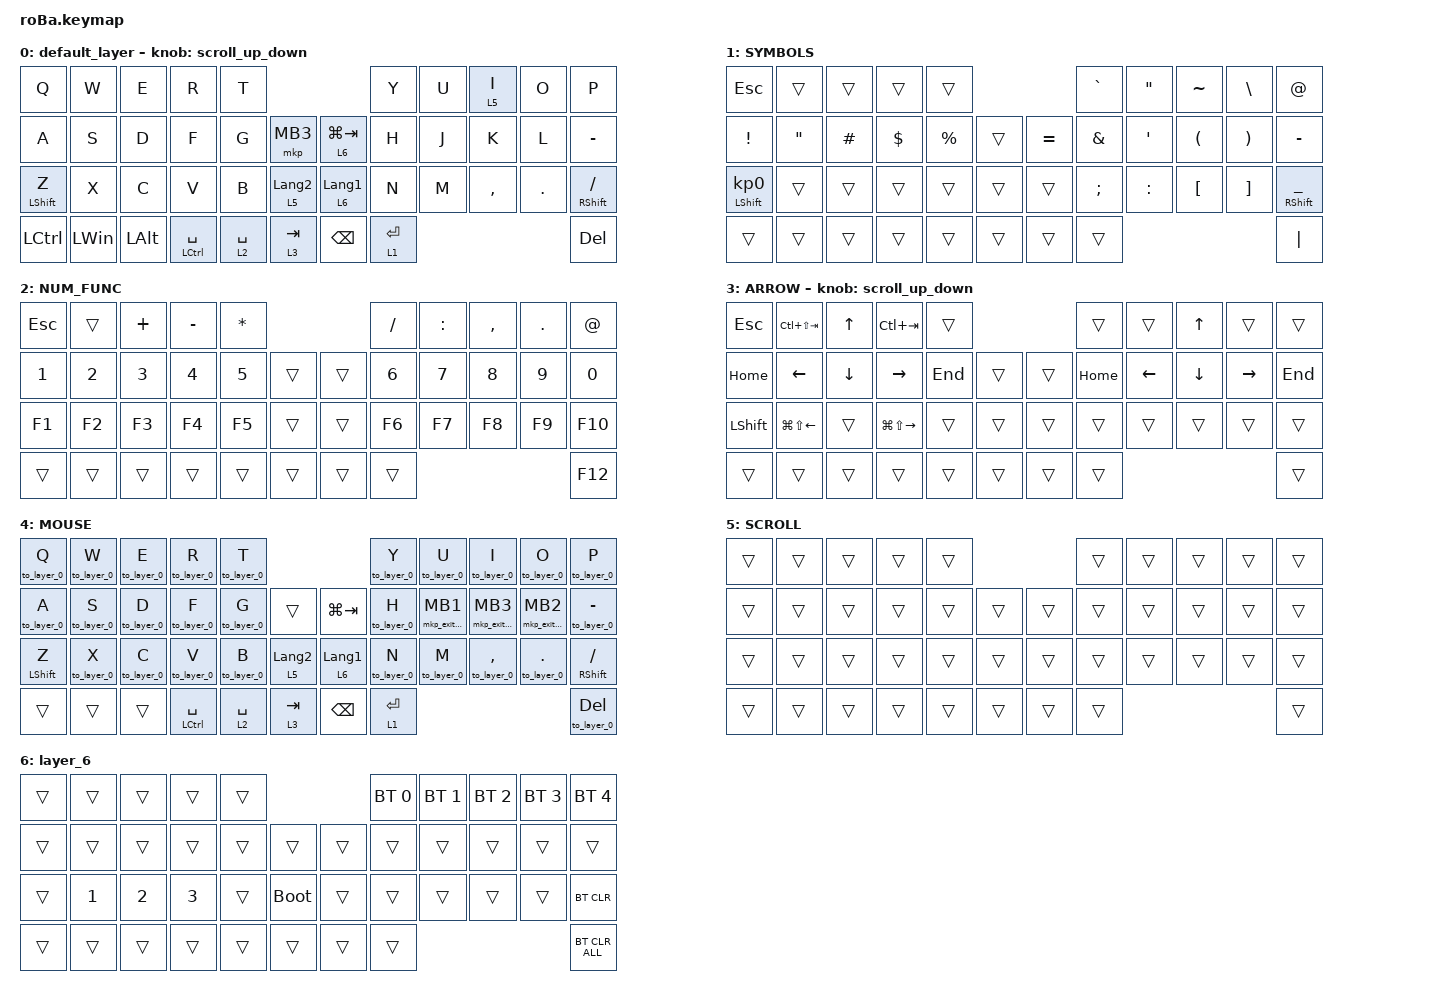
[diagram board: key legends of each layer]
#include <behaviors.dtsi>
#include <dt-bindings/zmk/bt.h>
#include <dt-bindings/zmk/keys.h>
#include <dt-bindings/zmk/pointing.h>
#include <input/processors.dtsi>

#define ZMK_POINTING_DEFAULT_MOVE_VAL 1200  // default: 600
#define ZMK_POINTING_DEFAULT_SCRL_VAL 80    // default: 10
#define MOUSE 4
#define SCROLL 5

// OS設定を日本語キーボードのまま使用するための変換定義

#define JP_DQUOTE       AT                // "
#define JP_AMPERSAND    CARET             // &
#define JP_QUOTE        AMPERSAND         // '
#define JP_EQUAL        UNDER             // =
#define JP_CARET        EQUAL             // ^
#define JP_YEN          0x89              // ¥
#define JP_PLUS         COLON             // +
#define JP_TILDE        PLUS              // ~
#define JP_PIPE         LS(0x89)          // |
#define JP_AT           LEFT_BRACKET      // @
#define JP_COLON        SINGLE_QUOTE      // :
#define JP_ASTERISK     DOUBLE_QUOTES     // *
#define JP_BACKQUOTE    LEFT_BRACE        // `
#define JP_UNDERSCORE   LS(0x87)          // _
#define JP_LBRACKET     RIGHT_BRACKET     // [
#define JP_RBRACKET     BACKSLASH         // ]
#define JP_LPAREN       ASTERISK          // (
#define JP_RPAREN       LEFT_PARENTHESIS  // )
#define JP_LBRACE       RIGHT_BRACE       // {
#define JP_RBRACE       PIPE              // }
#define JP_KANA         LANGUAGE_1        // かな
#define JP_EISU         LANGUAGE_2        // 英数
#define JP_HANZEN       GRAVE             // 半角/全角

&mt {
    flavor = "balanced";
    quick-tap-ms = <0>;
};

&sl { release-after-ms = <250>; };

&mkp_input_listener {
    input-processors = <&zip_temp_layer 4 600>;
};

/ {
    combos {
        compatible = "zmk,combos";

        //        tab {
        //            bindings = <&kp TAB>;
        //            key-positions = <11 12>;
        //        };
        //        shift_tab {
        //            bindings = <&kp LS(TAB)>;
        //            key-positions = <12 13>;
        //        };
        //        muhennkann {
        //            bindings = <&to_layer_0 INT_MUHENKAN>;
        //            key-positions = <11 10>;
        //        };

        double_quotation {
            bindings = <&kp DOUBLE_QUOTES>;
            key-positions = <20 21>;
        };

        eq {
            bindings = <&kp EQUAL>;
            key-positions = <24 25>;
        };
    };

    macros {
        to_layer_0: to_layer_0 {
            compatible = "zmk,behavior-macro-one-param";
            #binding-cells = <1>;
            bindings = <&to 0 &macro_param_1to1 &kp MACRO_PLACEHOLDER>;
            label = "TO_LAYER_0";
        };

        // マウスクリックしたらデフォルトレイヤーに戻る

        mkp_exit_AML: mkp_exit_AML {
            compatible = "zmk,behavior-macro-one-param";
            #binding-cells = <1>;
            bindings =
                <&macro_press>,
                <&macro_param_1to1 &mkp MACRO_PLACEHOLDER>,
                <&macro_pause_for_release>,
                <&macro_release>,
                <&macro_param_1to1 &mkp MACRO_PLACEHOLDER>,
                <&macro_tap>,
                <&sl 4>;

            label = "MKP_EXIT_AML";
        };
    };

    behaviors {
        lt_to_layer_0: lt_to_layer_0 {
            compatible = "zmk,behavior-hold-tap";
            label = "LAYER_TAP_TO_0";
            bindings = <&mo>, <&to_layer_0>;

            #binding-cells = <2>;
            tapping-term-ms = <150>; // defultは200
        };

        // 新しいスクロール動作の追加

        scroll_up_down: behavior_sensor_rotate_mouse_wheel_up_down {
            compatible = "zmk,behavior-sensor-rotate";
            #sensor-binding-cells = <0>;
            bindings = <&msc SCRL_DOWN>, <&msc SCRL_UP>;

            // 追加: スクロールのタップ時間を設定 (20ms)

            tap-ms = <20>;
        };

        // 設定したいレイヤー

        sensor-bindings = <&scroll_up_down>;
    };

    keymap {
        compatible = "zmk,keymap";

        default_layer {
            bindings = <
&kp Q             &kp W         &kp E         &kp R            &kp T                                                &kp Y        &kp U  &lt 5 I    &kp O    &kp P
&kp A             &kp S         &kp D         &kp F            &kp G        &mkp MB3              &lt 6 LG(TAB)     &kp H        &kp J  &kp K      &kp L    &kp MINUS
&mt LEFT_SHIFT Z  &kp X         &kp C         &kp V            &kp B        &lt 5 LANGUAGE_2      &lt 6 LANGUAGE_1  &kp N        &kp M  &kp COMMA  &kp DOT  &mt RIGHT_SHIFT SLASH
&kp LCTRL         &kp LEFT_WIN  &kp LEFT_ALT  &mt LCTRL SPACE  &lt 2 SPACE  &lt 3 TAB             &kp BACKSPACE     &lt 1 ENTER                             &kp DEL
            >;

            sensor-bindings = <&scroll_up_down>;
        };

        SYMBOLS {
            bindings = <
&kp ESCAPE                  &trans             &trans    &trans      &trans                              &kp GRAVE      &kp DOUBLE_QUOTES  &kp TILDE             &kp BACKSLASH          &kp AT_SIGN
&kp EXCLAMATION             &kp DOUBLE_QUOTES  &kp HASH  &kp DOLLAR  &kp PERCENT  &trans      &kp EQUAL  &kp AMPERSAND  &kp SINGLE_QUOTE   &kp LEFT_PARENTHESIS  &kp RIGHT_PARENTHESIS  &kp MINUS
&mt LEFT_SHIFT KP_NUMBER_0  &trans             &trans    &trans      &trans       &trans      &trans     &kp SEMICOLON  &kp COLON          &kp LEFT_BRACKET      &kp RIGHT_BRACKET      &mt RIGHT_SHIFT UNDERSCORE
&trans                      &trans             &trans    &trans      &trans       &trans      &trans     &trans                                                                         &kp PIPE
            >;
        };

        NUM_FUNC {
            bindings = <
&kp ESCAPE    &trans        &kp PLUS      &kp MINUS     &kp ASTRK                         &kp SLASH     &kp COLON     &kp COMMA     &kp PERIOD    &kp AT
&kp NUMBER_1  &kp NUMBER_2  &kp NUMBER_3  &kp NUMBER_4  &kp NUMBER_5  &trans      &trans  &kp NUMBER_6  &kp NUMBER_7  &kp NUMBER_8  &kp NUMBER_9  &kp NUMBER_0
&kp F1        &kp F2        &kp F3        &kp F4        &kp F5        &trans      &trans  &kp F6        &kp F7        &kp F8        &kp F9        &kp F10
&trans        &trans        &trans        &trans        &trans        &trans      &trans  &trans                                                  &kp F12
            >;
        };

        ARROW {
            bindings = <
&kp ESCAPE      &kp LC(LS(TAB))         &kp UP_ARROW    &kp LC(TAB)              &trans                       &trans    &trans          &kp UP_ARROW    &trans           &trans
&kp HOME        &kp LEFT_ARROW          &kp DOWN_ARROW  &kp RIGHT_ARROW          &kp END  &trans      &trans  &kp HOME  &kp LEFT_ARROW  &kp DOWN_ARROW  &kp RIGHT_ARROW  &kp END
&kp LEFT_SHIFT  &kp LG(LS(LEFT_ARROW))  &trans          &kp LG(LS(RIGHT_ARROW))  &trans   &trans      &trans  &trans    &trans          &trans          &trans           &trans
&trans          &trans                  &trans          &trans                   &trans   &trans      &trans  &trans                                                     &trans
            >;

            sensor-bindings = <&scroll_up_down>;
        };

        MOUSE {
            bindings = <
&to_layer_0 Q     &to_layer_0 W  &to_layer_0 E  &to_layer_0 R    &to_layer_0 T                                                                         &to_layer_0 Y           &to_layer_0 U      &to_layer_0 I      &to_layer_0 O       &to_layer_0 P
&to_layer_0 A     &to_layer_0 S  &to_layer_0 D  &to_layer_0 F    &to_layer_0 G           &trans                           &kp LG(TAB)                  &to_layer_0 H           &mkp_exit_AML MB1  &mkp_exit_AML MB3  &mkp_exit_AML MB2   &to_layer_0 MINUS
&mt LEFT_SHIFT Z  &to_layer_0 X  &to_layer_0 C  &to_layer_0 V    &to_layer_0 B           &lt_to_layer_0 5 LANGUAGE_2      &lt_to_layer_0 6 LANGUAGE_1  &to_layer_0 N           &to_layer_0 M      &to_layer_0 COMMA  &to_layer_0 PERIOD  &mt RIGHT_SHIFT SLASH
&trans            &trans         &trans         &mt LCTRL SPACE  &lt_to_layer_0 2 SPACE  &lt_to_layer_0 3 TAB             &kp BACKSPACE                &lt_to_layer_0 1 ENTER                                                            &to_layer_0 DEL
            >;
        };

        SCROLL {
            bindings = <
&trans  &trans  &trans  &trans  &trans                      &trans  &trans  &trans  &trans  &trans
&trans  &trans  &trans  &trans  &trans  &trans      &trans  &trans  &trans  &trans  &trans  &trans
&trans  &trans  &trans  &trans  &trans  &trans      &trans  &trans  &trans  &trans  &trans  &trans
&trans  &trans  &trans  &trans  &trans  &trans      &trans  &trans                          &trans
            >;
        };

        layer_6 {
            bindings = <
&trans  &trans        &trans        &trans        &trans                           &bt BT_SEL 0  &bt BT_SEL 1  &bt BT_SEL 2  &bt BT_SEL 3  &bt BT_SEL 4
&trans  &trans        &trans        &trans        &trans  &trans           &trans  &trans        &trans        &trans        &trans        &trans
&trans  &kp NUMBER_1  &kp NUMBER_2  &kp NUMBER_3  &trans  &bootloader      &trans  &trans        &trans        &trans        &trans        &bt BT_CLR
&trans  &trans        &trans        &trans        &trans  &trans           &trans  &trans                                                  &bt BT_CLR_ALL
            >;
        };
    };
};
